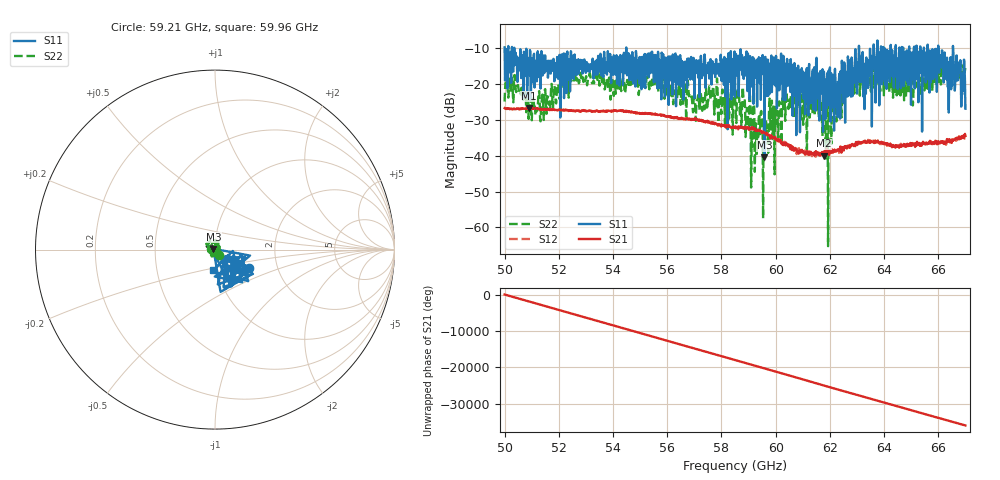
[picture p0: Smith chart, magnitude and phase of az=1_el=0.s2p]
!Created with skrf (http://scikit-rf.org).
# GHz S RI R 50.0
!freq ReS11 ImS11 ReS21 ImS21 ReS12 ImS12 ReS22 ImS22
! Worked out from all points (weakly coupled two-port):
!   1001 points, 50 GHz to 67 GHz, reference 50 ohm
!   highest |S21| = -26.60 dB at 50.88 GHz (marker M1); lowest = -39.9 dB at 61.78 GHz (marker M2)
!   lowest |S11| = -40.5 dB at 59.59 GHz (marker M3), VSWR 1.02, Z = 49.2 + j0.407 ohm
!   |S11| at or under -10 dB: 50.36 GHz to 54.49 GHz (4.13 GHz wide, 7.88 % of centre); 54.49 GHz to 63.07 GHz (8.582 GHz wide, 14.6 % of centre); 63.08 GHz to 63.61 GHz (536.5 MHz wide, 0.847 % of centre) (the widest 3 of 24)
!   |S22| runs from -65.2 to -14.0 dB; largest |S21 - S12| = 0.0023
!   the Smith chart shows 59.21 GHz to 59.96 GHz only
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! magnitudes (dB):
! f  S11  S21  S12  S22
! 50 GHz  -9.7  -26.7  -26.7  -24.8
! 50.42 GHz  -13.3  -27.0  -26.9  -22.2
! 50.88 GHz  -15.1  -26.6  -26.7  -29.7
! 52.84 GHz  -14.1  -27.4  -27.4  -19.1
! 55.68 GHz  -13.4  -28.6  -28.5  -22.1
! 57 GHz  -23.9  -29.7  -29.7  -22.0
! 57.62 GHz  -15.7  -30.9  -31.0  -22.3
! 58.5 GHz  -23.6  -32.1  -32.0  -24.1
! 59.59 GHz  -40.5  -33.6  -33.3  -29.5
! 59.84 GHz  -12.0  -34.3  -34.5  -25.2
! 60.03 GHz  -14.6  -35.6  -35.5  -31.1
! 60.34 GHz  -14.1  -36.4  -36.1  -25.6
! 61.34 GHz  -25.2  -39.4  -40.1  -25.5
! 61.78 GHz  -16.5  -39.9  -38.7  -22.0
! 62 GHz  -15.3  -39.0  -38.4  -25.0
! 62.04 GHz  -17.7  -38.9  -39.2  -30.9
! 62.6 GHz  -19.9  -37.4  -37.3  -19.2
! 64.18 GHz  -17.6  -37.1  -36.9  -18.5
! 66.08 GHz  -15.0  -36.1  -35.9  -15.5
! 66.42 GHz  -15.3  -36.2  -36.4  -16.3
! 66.75 GHz  -16.9  -35.3  -35.3  -18.2
! 67 GHz  -26.8  -34.4  -34.9  -15.5
